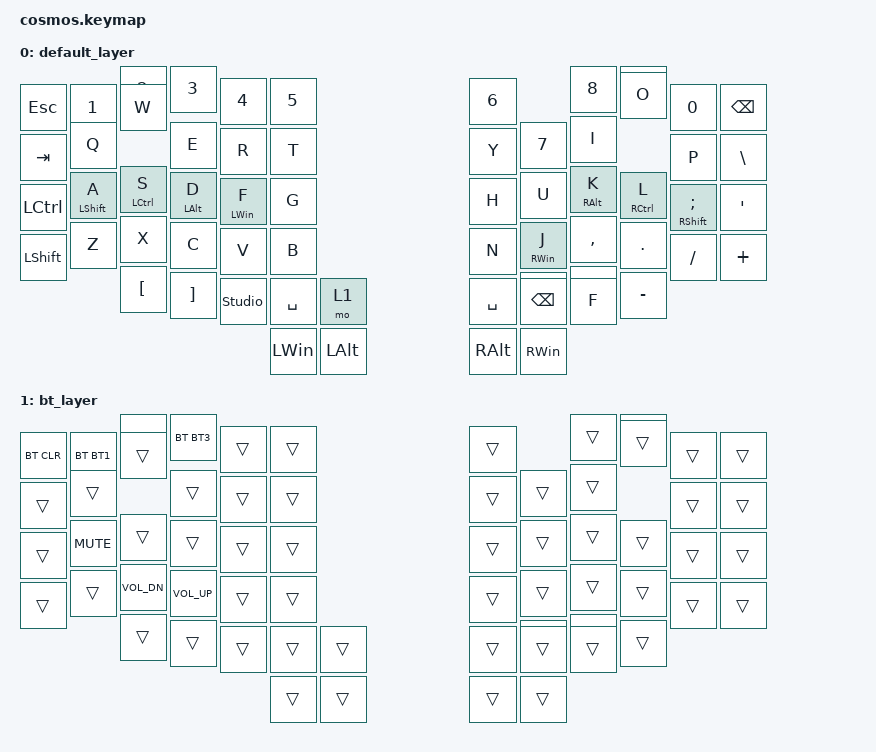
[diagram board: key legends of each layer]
#include <behaviors.dtsi>
#include <dt-bindings/zmk/keys.h>
#include <dt-bindings/zmk/bt.h>

#define A_SHFT &hm LSHIFT A
#define S_CTRL &hm LCTRL S
#define D_LALT &hm LALT D
#define F_LGUI &hm LWIN F
#define J_RGUI &hm RWIN J
#define K_RALT &hm RALT K
#define L_CTRL &hm RCTRL L
#define S_SHFT &hm RSHIFT SEMI

#define BT1 BT_SEL 1
#define BT2 BT_SEL 2
#define BT3 BT_SEL 3
#define BTX BT_CLR

/ {
    behaviors {
        hm: homerow_mods {
          compatible = "zmk,behavior-hold-tap";
          label = "homerow mods";
          #binding-cells = <2>;
          tapping_term_ms = <200>;
          flavor = "balanced";
          bindings = <&kp>, <&kp>;
        };
    };
    keymap {
        compatible = "zmk,keymap";

        default_layer {
            bindings = <
                                 &kp N2    &kp N3                                                            &kp N8    &kp N9
                &kp ESC   &kp N1 &kp W     &kp E    &kp N4   &kp N5                        &kp N6   &kp N7   &kp I     &kp O     &kp N0    &kp BSPC
                &kp TAB   &kp Q  S_CTRL    D_LALT   &kp R    &kp T                         &kp Y    &kp U    K_RALT    L_CTRL    &kp P     &kp BSLH
                &kp LCTRL A_SHFT &kp X     &kp C    F_LGUI   &kp G                         &kp H    J_RGUI   &kp COMMA &kp DOT   S_SHFT    &kp SQT
                &kp LSHFT &kp Z  &kp LBKT  &kp RBKT &kp V    &kp B                         &kp N    &kp M    &kp MINUS &kp MINUS &kp SLASH &kp PLUS
                                              &studio_unlock &kp SPACE &mo 1     &kp SPACE &kp BSPC &kp F  
                                                             &kp LWIN  &kp LALT  &kp RALT  &kp RWIN
            >;
        };

        bt_layer {
            bindings = <
                                 &bt BT2      &bt BT3                                    &trans &trans
            &bt BTX &bt BT1      &trans       &trans       &trans &trans   &trans &trans &trans &trans &trans &trans
            &trans  &trans       &trans       &trans       &trans &trans   &trans &trans &trans &trans &trans &trans
            &trans  &kp C_MUTE   &kp C_VOL_DN &kp C_VOL_UP &trans &trans   &trans &trans &trans &trans &trans &trans
            &trans  &trans       &trans       &trans       &trans &trans   &trans &trans &trans &trans &trans &trans
                                              &trans       &trans &trans   &trans &trans &trans 
                                                           &trans &trans   &trans &trans
            >;
        };

        extra1 {
            status = "reserved";
        };

        extra2 {
            status = "reserved";
        };
    };
};
